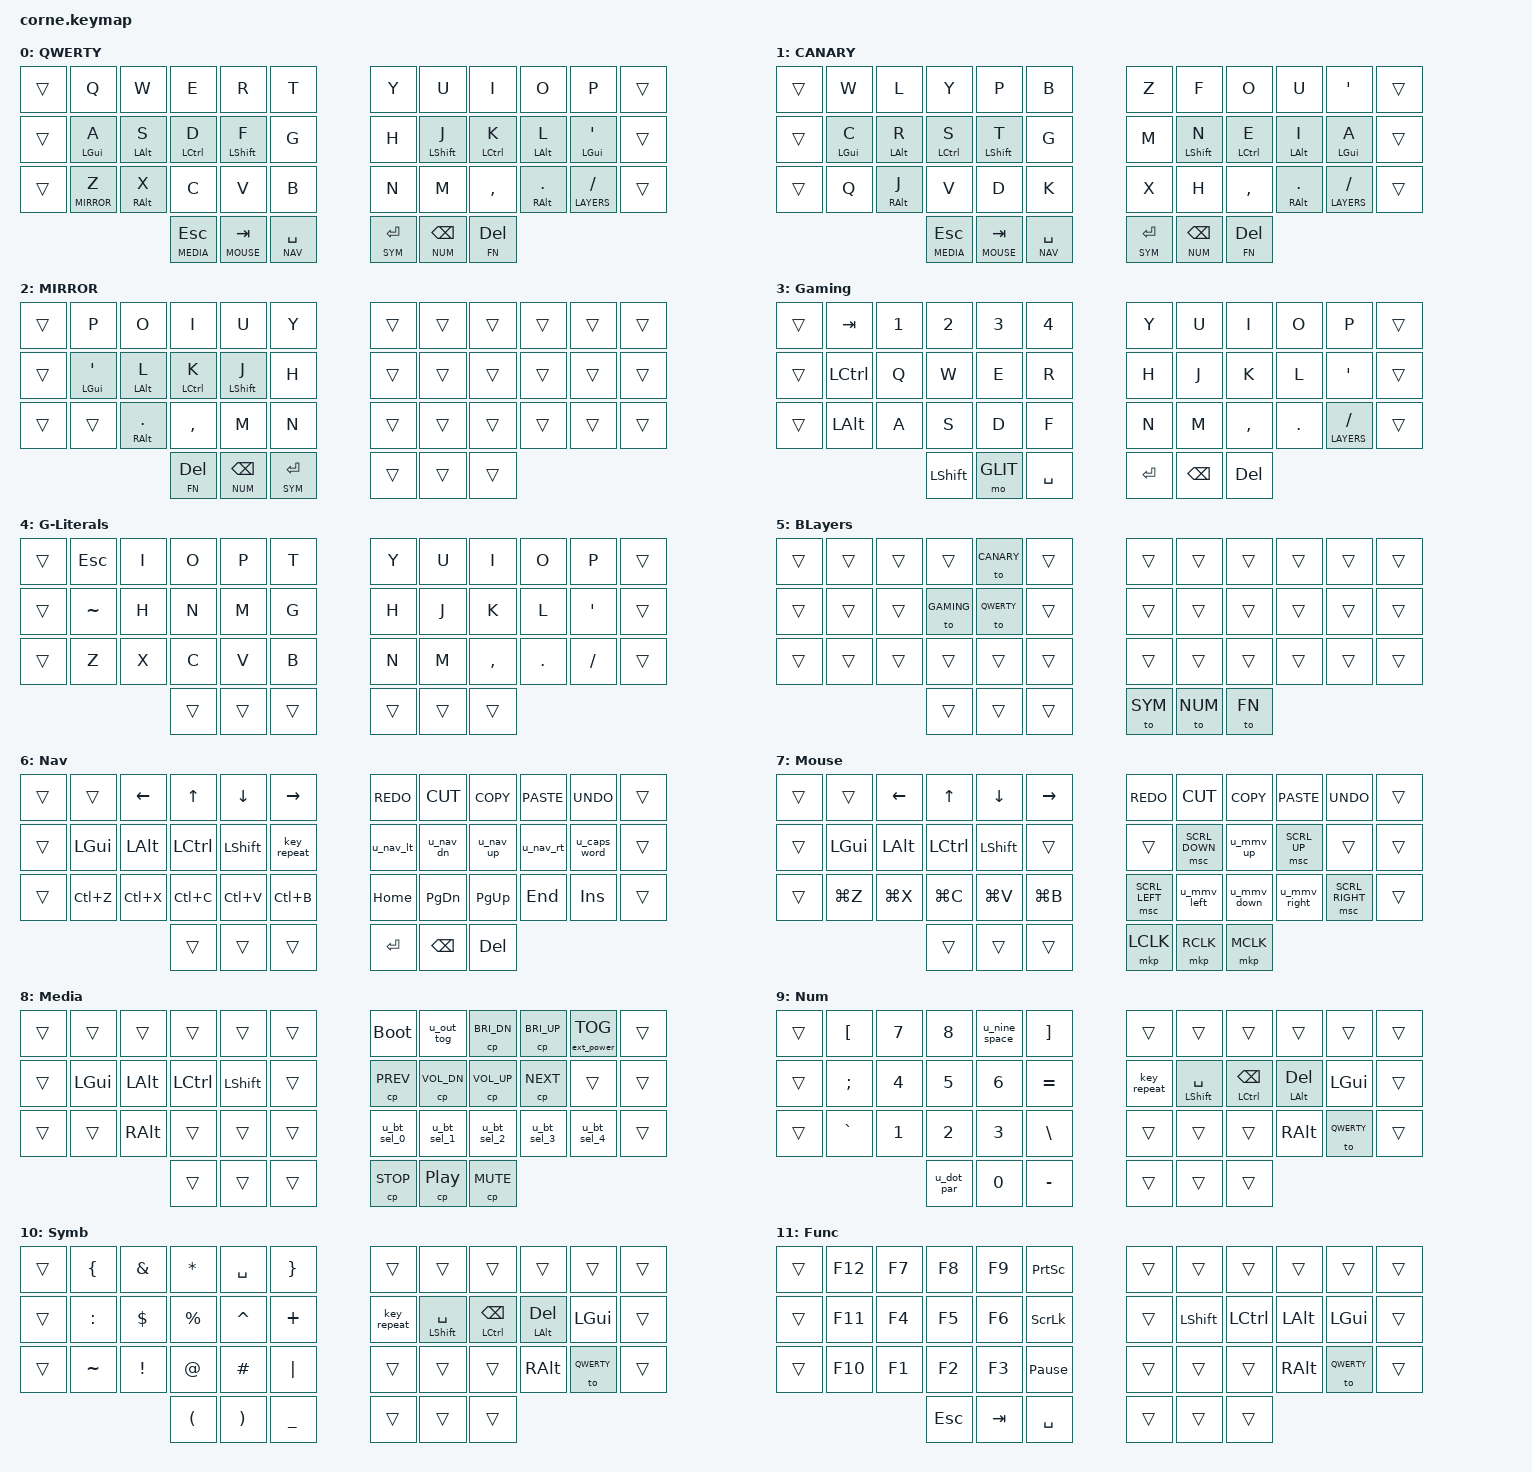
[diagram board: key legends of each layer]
#include <behaviors.dtsi>
#include <behaviors/mouse_keys.dtsi>
#include <dt-bindings/zmk/keys.h>
#include <dt-bindings/zmk/bt.h>
#include <dt-bindings/zmk/ext_power.h>
#include <dt-bindings/zmk/outputs.h>
#include <dt-bindings/zmk/mouse.h>

// Layer Definitions
#define QWERTY 0
#define CANARY 1
#define MIRROR 2
#define GAMING 3
#define GLIT 4
#define LAYERS 5
#define NAV 6
#define MOUSE 7
#define MEDIA 8
#define NUM 9
#define SYM 10
#define FN 11

// based on the Miryoku layout by Manna Harbour and jasoneliu's keymap file.

#define U_STRINGIFY(x) #x
#define U_MACRO(name,...) \
/ { \
  macros { \
    name: name { \
      label = U_STRINGIFY(ZM_ ## name); \
      compatible = "zmk,behavior-macro"; \
      #binding-cells = <0>; \
      __VA_ARGS__ \
    }; \
  }; \
};

#define SHIFT_FUNC(NAME, BINDING, SHIFT_BINDING) \
/ { \
  behaviors { \
    NAME: NAME { \
      compatible = "zmk,behavior-mod-morph"; \
      label = U_STRINGIFY(NAME); \
      #binding-cells = <0>; \
      bindings = <BINDING>, <SHIFT_BINDING>; \
      mods = <(MOD_LSFT|MOD_RSFT)>; \
    }; \
  }; \
};

#define SHIFT_MACRO(NAME, BINDING, SHIFT_BINDING) \
U_MACRO(u_macro_ ## NAME, wait-ms = <0>; bindings = <SHIFT_BINDING>;) \
SHIFT_FUNC(NAME, BINDING, &u_macro_ ## NAME)

#define SHIFT_MACRO_KP(NAME, BINDING, SHIFT_BINDING) \
U_MACRO(u_macro_ ## NAME, wait-ms = <30>; tap-ms = <30>; bindings = <SHIFT_BINDING>;) \
SHIFT_FUNC(NAME, BINDING, &u_macro_ ## NAME)

// Behavior configuration
&mt {
    tapping-term-ms = <150>;
    quick_tap_ms = <0>;
    flavor = "tap-preferred";
};
&lt {
    tapping-term-ms = <200>;
    quick_tap_ms = <0>;
    flavor = "tap-preferred";
};
&sk {
    release-after-ms = <500>;
    quick-release;
};
#define KEYS_L 0 1 2 3 4 5 12 13 14 15 16 17 24 25 26 27 28 29
#define KEYS_R 6 7 8 9 10 11 18 19 20 21 22 23 30 31 32 33 34 35
#define THUMBS 36 37 38 39 40 41
/ {
    behaviors {
        hml: left_hand_positional_hold_tap {
            compatible = "zmk,behavior-hold-tap";
            label = "HOME_MOD_L";
            #binding-cells = <2>;
            flavor = "balanced";
            tapping-term-ms = <280>;
            quick-tap-ms = <175>;
            require-prior-idle-ms = <150>;
            bindings = <&kp>, <&kp>;
            hold-trigger-key-positions = <KEYS_R THUMBS>;
            hold-trigger-on-release;
        };
        hmr: right_hand_positional_hold_tap {
            compatible = "zmk,behavior-hold-tap";
            label = "HOME_MOD_R";
            #binding-cells = <2>;
            flavor = "balanced";
            tapping-term-ms = <280>;
            quick-tap-ms = <175>;
            require-prior-idle-ms = <150>;
            bindings = <&kp>, <&kp>;
            hold-trigger-key-positions = <KEYS_L THUMBS>;
            hold-trigger-on-release;
        };
    };
};

// mouse speed adjustments from krissen
#define U_MOUSE_MOVE_MAX 1200                     /* <--- New max speed setting (default: 600) */
#define U_MOUSE_P_MOVE_MAX 500                     /* <--- Precise max speed setting */
#undef MOVE_UP
#undef MOVE_DOWN
#undef MOVE_LEFT
#undef MOVE_RIGHT
#define MOVE_UP MOVE_Y(-U_MOUSE_MOVE_MAX)
#define MOVE_DOWN MOVE_Y(U_MOUSE_MOVE_MAX)
#define MOVE_LEFT MOVE_X(-U_MOUSE_MOVE_MAX)
#define MOVE_RIGHT MOVE_X(U_MOUSE_MOVE_MAX)
#define MOVE_UP_P MOVE_Y(-U_MOUSE_P_MOVE_MAX)
#define MOVE_DOWN_P MOVE_Y(U_MOUSE_P_MOVE_MAX)
#define MOVE_LEFT_P MOVE_X(-U_MOUSE_P_MOVE_MAX)
#define MOVE_RIGHT_P MOVE_X(U_MOUSE_P_MOVE_MAX)

&mmv {
    acceleration-exponent = <1>;      // 1
    time-to-max-speed-ms = <300>;    // 500
    delay-ms = <0>;                   // 0
};

&msc {
    acceleration-exponent = <1>;      // 1
    time-to-max-speed-ms = <40>;      // 40
    delay-ms = <0>;                   // 10
};

// custom macros
SHIFT_MACRO(u_bt_sel_0, &bt BT_SEL 0, &bt BT_SEL 0 &bt BT_CLR)
SHIFT_MACRO(u_bt_sel_1, &bt BT_SEL 1, &bt BT_SEL 1 &bt BT_CLR)
SHIFT_MACRO(u_bt_sel_2, &bt BT_SEL 2, &bt BT_SEL 2 &bt BT_CLR)
SHIFT_MACRO(u_bt_sel_3, &bt BT_SEL 3, &bt BT_SEL 3 &bt BT_CLR)
SHIFT_MACRO(u_bt_sel_4, &bt BT_SEL 4, &bt BT_SEL 4 &bt BT_CLR)

SHIFT_FUNC(u_out_tog, &out OUT_TOG, &out OUT_USB)
SHIFT_FUNC(u_caps_word, &caps_word, &kp CAPS)

SHIFT_FUNC(u_mmv_up, &mmv MOVE_UP, &mmv MOVE_UP_P)
SHIFT_FUNC(u_mmv_down, &mmv MOVE_DOWN, &mmv MOVE_DOWN_P)
SHIFT_FUNC(u_mmv_left, &mmv MOVE_LEFT, &mmv MOVE_LEFT_P)
SHIFT_FUNC(u_mmv_right, &mmv MOVE_RIGHT, &mmv MOVE_RIGHT_P)

SHIFT_MACRO_KP(u_nav_lt, &kp LEFT, &kp LEFT &kp LEFT &kp LEFT &kp LEFT &kp LEFT)
SHIFT_MACRO_KP(u_nav_rt, &kp RIGHT, &kp RIGHT &kp RIGHT &kp RIGHT &kp RIGHT &kp RIGHT)
SHIFT_MACRO_KP(u_nav_up, &kp UP, &kp UP &kp UP &kp UP &kp UP &kp UP)
SHIFT_MACRO_KP(u_nav_dn, &kp DOWN, &kp DOWN &kp DOWN &kp DOWN &kp DOWN &kp DOWN)

SHIFT_FUNC(u_dot_par, &kp DOT, &kp LPAR)
SHIFT_FUNC(u_nine_space, &kp N9, &kp SPACE)

// Keymap configuration
/ {
    keymap {
        compatible = "zmk,keymap";

        qwerty {
// -----------------------------------------------------------------------------------------------------------------------------
// |        |   Q    |   W    |     E     |     R     |     T     | # |     Y     |     U    |    I    |    O   |   P      |     |
// |        | A/LGUI | S/LALT |  D/LCTRL  |  F/LSHFT  |     G     | # |     H     | J/LSHFT  | K/LCTRR | L/LALT | '/LGUI   |     |
// |        |   Z    | X/RALT |     C     |     V     |     B     | # |     N     |     M    |    ,    | ./RALT | //Layers |     |
//                            | ESC/MEDIA | TAB/MOUSE | SPACE/NAV | # | ENTER/SYM | BSPC/NUM | DEL/FN  |

            label = "QWERTY";
            bindings = <
&trans      &kp Q        &kp W       &kp E          &kp R          &kp T                &kp Y          &kp U         &kp I          &kp O         &kp P           &trans
&trans      &hml LGUI A  &hml LALT S &hml LCTRL D   &mt LSHFT F    &kp G                &kp H          &mt LSHFT J   &hmr LCTRL K   &hmr LALT L   &hmr LGUI SQT   &trans
&trans      &lt MIRROR Z &hml RALT X &kp C          &kp V          &kp B                &kp N          &kp M         &kp CMMA       &hmr RALT DOT &lt LAYERS FSLH &trans
                                     &lt MEDIA ESC  &lt MOUSE TAB  &lt NAV SPACE        &lt SYM ENTER  &lt NUM BSPC  &lt FN DEL
            >;
        };

        canary {
// -----------------------------------------------------------------------------------------------------------------------------
// |        |   W    |   L    |     Y     |     P     |     B     | # |     Z     |    F     |    O    |    U   |   '    |     |
// | LAYERS | C/LGUI | R/LALT |  S/LCTRL  |  T/LSHFT  |     G     | # |     M     | N/LSHFT  | E/LCTRL | I/LALT | A/LGUI |     |
// |        |   Q    | J/RALT |     V     |     D     |     K     | # |     X     |    H     |    /    | ,/RALT | ./Layer|     |
//                            | ESC/MEDIA | SPACE/NAV | TAB/MOUSE | # | ENTER/SYM | BSPC/NUM | DEL/FN  |
            label = "CANARY";
            bindings = <
&trans      &kp W       &kp L       &kp Y          &kp P          &kp B                &kp Z          &kp F         &kp O          &kp U          &kp SQT         &trans
&trans      &hml LGUI C &hml LALT R &hml LCTRL S   &mt LSHFT T    &kp G                &kp M          &mt LSHFT N   &hmr LCTRL E   &hmr LALT I    &hmr LGUI A     &trans
&trans      &kp Q       &hml RALT J &kp V          &kp D          &kp K                &kp X          &kp H         &kp CMMA       &hmr RALT DOT  &lt LAYERS FSLH &trans
                                    &lt MEDIA ESC  &lt MOUSE TAB  &lt NAV SPACE        &lt SYM ENTER  &lt NUM BSPC  &lt FN DEL
            >;
        };

        mirror {
// -----------------------------------------------------------------------------------------------------------------------------
// |        |   P    |   O    |     I     |     U     |     Y     | # |     Y     |     U    |    I    |    O   |   P      |     |
// |        | '/LGUI | L/LALT |  K/LCTRL  |  J/LSHFT  |     H     | # |     H     | J/LSHFT  | K/LCTRR | L/LALT | '/LGUI   |     |
// |        | HELD   | ./RALT |     ,     |     M     |     N     | # |     N     |     M    |    ,    | ./RALT | //Layers |     |
//                            | DEL/FN    | BSPC/NUM  | ENTER/SYM | # | ENTER/SYM | BSPC/NUM | DEL/FN  |

            label = "MIRROR";
            bindings = <
&trans      &kp P         &kp O         &kp I          &kp U          &kp Y            &trans         &trans        &trans         &trans        &trans          &trans
&trans      &hml LGUI SQT &hml LALT L   &hml LCTRL K   &mt LSHFT J    &kp H            &trans         &trans        &trans         &trans        &trans          &trans
&trans      &trans        &hml RALT DOT &kp CMMA       &kp M          &kp N            &trans         &trans        &trans         &trans        &trans          &trans
                                    &lt FN DEL         &lt NUM BSPC   &lt SYM ENTER    &trans         &trans        &trans
            >;
        };


        gaming {
// ----------------------------------------------------------------------------------------------------
// |        | TAB   |   1   |   2   |   3   |   4   | # |     Y     |     U    |    I    |    O   |   P      |     |
// |        | LCTRL |   Q   |   W   |   E   |   R   | # |     H     | J/LSHFT  | K/LCTRR | L/LALT | '/LGUI   |     |
// |        | LALT  |   A   |   S   |   D   |   F   | # |     N     |     M    |    ,    | ./RALT | //Layers |     |
//                          |  SHFT | g-lit | SPACE | # | ENTER | BSPC  |  DEL  |

            label = "Gaming";
            bindings = <
&trans      &kp TAB    &kp N1 &kp N2   &kp N3     &kp N4         &kp Y          &kp U         &kp I          &kp O         &kp P           &trans
&trans      &kp LCTRL  &kp Q  &kp W    &kp E      &kp R          &kp H          &kp J         &kp K          &kp L         &kp SQT         &trans
&trans      &kp LALT   &kp A  &kp S    &kp D      &kp F          &kp N          &kp M         &kp CMMA       &kp DOT       &lt LAYERS FSLH &trans
                      &kp LSHFT &mo GLIT  &kp SPACE       &kp ENTER  &kp BSPC  &kp DEL
            >;
        };

        glit {
// -----------------------------------------------------------------------------------------------------------------------------
// |        | ESC    |   I    |     O     |     P     |     T     | # |     Y     |     U    |    I    |    O   |   P      |     |
// |        | TILDE  |   H    |     N     |     M     |     G     | # |     H     |     J    |    K    |    L   |   '      |     |
// |        |   Z    |   X    |     C     |     V     |     B     | # |     N     |     M    |    ,    |    .   |   /      |     |
//                            |           |  HELD     |           | # |           |          |         |

            label = "G-Literals";
            bindings = <
&trans      &kp ESC      &kp I       &kp O          &kp P          &kp T                &kp Y          &kp U         &kp I          &kp O         &kp P           &trans
&trans      &kp TILDE    &kp H       &kp N          &kp M          &kp G                &kp H          &kp J         &kp K          &kp L         &kp SQT         &trans
&trans      &kp Z        &kp X       &kp C          &kp V          &kp B                &kp N          &kp M         &kp CMMA       &kp DOT       &kp FSLH        &trans
                                     &trans         &trans         &trans               &trans         &trans        &trans
            >;
        };

        layers {
// ---------------------------------------------------------------------------------------------
// |      |     |     |        | CANARY  |     | # |     |      |         |        |      |      |
// |      |     |     | GAMING | QWERTY  |     | # |     |      |         |        |      |      |
// |      |     |     |        |         |     | # |     |      |         |        | HELD |      |
//                    |        |         |     | # |     |      |         |

            label = "BLayers";
            bindings = <
&trans  &trans  &trans  &trans     &to CANARY  &trans        &trans    &trans   &trans       &trans      &trans  &trans
&trans  &trans  &trans  &to GAMING &to QWERTY  &trans        &trans    &trans   &trans       &trans      &trans  &trans
&trans  &trans  &trans  &trans     &trans      &trans        &trans    &trans   &trans       &trans      &trans  &trans
                        &trans     &trans      &trans        &to SYM   &to NUM  &to FN
            >;
        };


        navigation {
// --------------------------------------------------------------------------------------------
// |     |      | LEFT | UP    | DOWN  | RT   | # | REDO  | CUT  | COPY | PASTE | UNDO  |     |
// |     | LGUI | LALT | LCTRL | LSHFT | REPT | # | LEFT | DOWN | UP    | RIGHT | CAPSW |     |
// |     | UNDO | CUT  | COPY  | PASTE | BOLD | # | HOME | PGDN | PGUP  | END   | INS   |     |
//                     |       |       | HELD | # | ENTER | BSPC | DEL  |

            label = "Nav";
            bindings = <
&trans  &trans    &kp LEFT  &kp UP     &kp DOWN   &kp RIGHT     &kp K_REDO    &kp K_CUT  &kp K_COPY  &kp K_PASTE  &kp K_UNDO   &trans
&trans  &kp LGUI  &kp LALT  &kp LCTRL  &kp LSHFT  &key_repeat   &u_nav_lt     &u_nav_dn  &u_nav_up   &u_nav_rt    &u_caps_word &trans
&trans  &kp LC(Z) &kp LC(X) &kp LC(C)  &kp LC(V)  &kp LC(B)     &kp HOME      &kp PG_DN  &kp PG_UP   &kp END      &kp INS      &trans
                            &trans     &trans     &trans        &kp ENTER     &kp BSPC   &kp DEL
            >;
        };

        mouse {
// ------------------------------------------------------------------------------------
// |     |      | LEFT | UP    | DOWN  | RT   | # | REDO | CUT  | COPY | PASTE | UNDO |     |
// |     | LGUI | LALT | LCTRL | LSHFT |      | # |      | SCDN | UP   | SCUP  |      |     |
// |     | UNDO | CUT  | COPY  | PASTE | BOLD | # | SCLFT| LEFT | DOWN | RIGHT | SCRT |     |
//                     |       | HELD  |      | # | LCLK | RCLK | MCLK |

            label = "Mouse";
            bindings = <
&trans  &trans    &kp LEFT  &kp UP     &kp DOWN   &kp RIGHT     &kp K_REDO     &kp K_CUT      &kp K_COPY     &kp K_PASTE   &kp K_UNDO      &trans
&trans  &kp LGUI  &kp LALT  &kp LCTRL  &kp LSHFT  &trans        &trans         &msc SCRL_DOWN &u_mmv_up      &msc SCRL_UP  &trans          &trans
&trans  &kp LG(Z) &kp LG(X) &kp LG(C)  &kp LG(V)  &kp LG(B)     &msc SCRL_LEFT &u_mmv_left    &u_mmv_down    &u_mmv_right  &msc SCRL_RIGHT &trans
                            &trans     &trans     &trans        &mkp LCLK &mkp RCLK &mkp MCLK
            >;
        };

        media {
// -----------------------------------------------------------------------------------------------------
// |     |      |      |       |       |      | # | BOOT     | OUT_TOG| BR_D   | BR_U   | EP_TOG |     |
// |     | LGUI | LALT | LCTRL | LSHFT |      | # | PREV     | VOL_D  | VOL_U  | NEXT   |        |
// |     |      | RALT |       |       |      | # | BT_0     | BT_1   | BT_2   | BT_3   | BT_4   |
//                     | HELD  |       |      | # | STOP     | PLAY/P | MUTE   |
            label = "Media";
            bindings = <
&trans  &trans    &trans    &trans     &trans     &trans        &bootloader       &u_out_tog    &cp C_BRI_DN  &cp C_BRI_UP  &ext_power EP_TOG &trans
&trans  &kp LGUI  &kp LALT  &kp LCTRL  &kp LSHFT  &trans        &cp C_PREV        &cp C_VOL_DN  &cp C_VOL_UP  &cp C_NEXT    &trans            &trans
&trans  &trans    &kp RALT  &trans     &trans     &trans        &u_bt_sel_0       &u_bt_sel_1   &u_bt_sel_2   &u_bt_sel_3   &u_bt_sel_4       &trans
                            &trans     &trans     &trans        &cp C_STOP        &cp C_PP      &cp C_MUTE
            >;
        };

        numbers {
// -----------------------------------------------------------------------------------
// |     |  [  |  7  |  8  |  9  |  ]  | # |       |           |            |          |      |     |
// |     |  ;  |  4  |  5  |  6  |  =  | # | REPEA | SPC/LSHFT | BSPC/LCTRL | DEL/LALT | LGUI |     |
// |     |  `  |  1  |  2  |  3  |  \  | # |       |           |            | RALT     |      |     |
//                   |  .  |  0  |  -  | # |       | HELD      |            |

            label = "Num";
            bindings = <
&trans  &kp LBKT   &kp N7  &kp N8     &u_nine_space &kp RBKT         &trans      &trans          &trans         &trans       &trans     &trans
&trans  &kp SEMI   &kp N4  &kp N5     &kp N6        &kp EQUAL        &key_repeat &mt LSHFT SPACE &mt LCTRL BSPC &mt LALT DEL &kp LGUI   &trans
&trans  &kp GRAVE  &kp N1  &kp N2     &kp N3        &kp BSLH         &trans      &trans          &trans         &kp RALT     &to QWERTY &trans
                           &u_dot_par &kp N0        &kp MINUS        &trans  &trans     &trans
            >;
        };

        symbols {
// ------------------------------------------------------------------------------------
// |     |  {  |  &  |  *  | SPACE |  }  | # |       |           |            |          |      |     |
// |     |  :  |  $  |  %  |  ^    |  +  | # | REPEA | SPC/LSHFT | BSPC/LCTRL | DEL/LALT | LGUI |     |
// |     |  ~  |  !  |  @  |  #    |  |  | # |       |           |            | RALT     |      |     |
//                   |  (  |  )    |  _  | # | HELD  |           |            |

            label = "Symb";
            bindings = <
&trans  &kp LBRC   &kp AMPS  &kp ASTRK  &kp SPACE  &kp RBRC              &trans      &trans          &trans         &trans       &trans     &trans
&trans  &kp COLON  &kp DLLR  &kp PRCNT  &kp CARET  &kp PLUS              &key_repeat &mt LSHFT SPACE &mt LCTRL BSPC &mt LALT DEL &kp LGUI   &trans
&trans  &kp TILDE  &kp EXCL  &kp AT     &kp HASH   &kp PIPE              &trans      &trans          &trans         &kp RALT     &to QWERTY &trans
                             &kp LPAR   &kp RPAR   &kp UNDERSCORE        &trans      &trans          &trans
            >;
        };

        function {
// ------------------------------------------------------------------------------------------
// |     |  F12 |  F7  |  F8  |  F9   | PSCRN | # |     |       |       |      |      |     |
// |     |  F11 |  F4  |  F5  |  F6   | SLCK  | # |     | LSHFT | LCTRL | LALT | LGUI |     |
// |     |  F10 |  F1  |  F2  |  F3   | PAUSE | # |     |       |       | RALT |      |     |
//                     | ESC  | TAB   | SPACE | # |     |       | HELD  |

            label = "Func";
            bindings = <
&trans  &kp F12  &kp F7  &kp F8   &kp F9     &kp PSCRN              &trans  &trans     &trans     &trans    &trans     &trans
&trans  &kp F11  &kp F4  &kp F5   &kp F6     &kp SLCK               &trans  &kp LSHFT  &kp LCTRL  &kp LALT  &kp LGUI   &trans
&trans  &kp F10  &kp F1  &kp F2   &kp F3     &kp PAUSE_BREAK        &trans  &trans     &trans     &kp RALT  &to QWERTY &trans
                         &kp ESC  &kp TAB    &kp SPACE              &trans  &trans     &trans
            >;
        };
    };
};
